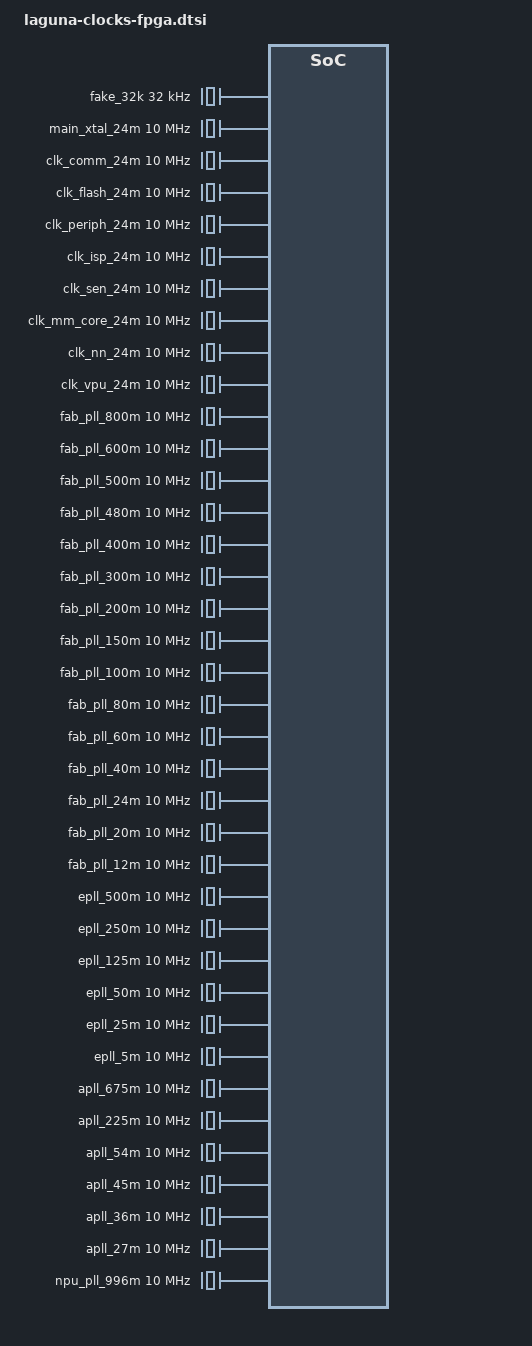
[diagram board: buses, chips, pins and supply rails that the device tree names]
/* SPDX-License-Identifier: GPL-2.0+
 *
 * Device Tree Source for Laguna Main Domain clock tree on HAPS FPGA
 *
 * Copyright (C) 2024 Charleye <wangkart@aliyun.com>
 */

/ {
	main_clocks {
		compatible = "simple-bus";
		#address-cells = <2>;
		#size-cells = <2>;

		fake_32k: fake_32k {
			compatible = "fixed-clock";
			#clock-cells = <0>;
			clock-frequency = <32000>;
			clock-output-names = "fake_32k";
		};

		main_xtal_24m: main_xtal_24m {
			compatible = "fixed-clock";
			#clock-cells = <0>;
			clock-frequency = <10000000>;
			clock-output-names = "main_xtal_24m";
		};

		clk_comm_24m: clk_comm_24m {
			compatible = "fixed-clock";
			#clock-cells = <0>;
			clock-frequency = <10000000>;
			clock-output-names = "clk_comm_24m";
		};

		clk_flash_24m: clk_flash_24m {
			compatible = "fixed-clock";
			#clock-cells = <0>;
			clock-frequency = <10000000>;
			clock-output-names = "clk_flash_24m";
		};

		clk_periph_24m: clk_periph_24m {
			compatible = "fixed-clock";
			#clock-cells = <0>;
			clock-frequency = <10000000>;
			clock-output-names = "clk_periph_24m";
		};

		clk_isp_24m: clk_isp_24m {
			compatible = "fixed-clock";
			#clock-cells = <0>;
			clock-frequency = <10000000>;
			clock-output-names = "clk_isp_24m";
		};

		clk_sen_24m: clk_sen_24m {
			compatible = "fixed-clock";
			#clock-cells = <0>;
			clock-frequency = <10000000>;
			clock-output-names = "clk_sen_24m";
		};

		clk_mm_core_24m: clk_mm_core_24m {
			compatible = "fixed-clock";
			#clock-cells = <0>;
			clock-frequency = <10000000>;
			clock-output-names = "clk_mm_core_24m";
		};

		clk_nn_24m: clk_nn_24m {
			compatible = "fixed-clock";
			#clock-cells = <0>;
			clock-frequency = <10000000>;
			clock-output-names = "clk_nn_24m";
		};

		clk_vpu_24m: clk_vpu_24m {
			compatible = "fixed-clock";
			#clock-cells = <0>;
			clock-frequency = <10000000>;
			clock-output-names = "clk_vpu_24m";
		};

		periph_clk_main_rgmii_tx_div2: periph_clk_main_rgmii_tx_div2 {
			compatible = "fixed-clock";
			#clock-cells = <0>;
			clock-frequency = <10000000>;
			clock-output-names = "periph_clk_main_rgmii_tx_div2";
		};

		clk_periph_emac_ptp_div2: clk_periph_emac_ptp_div2 {
			compatible = "fixed-clock";
			#clock-cells = <0>;
			clock-frequency = <10000000>;
			clock-output-names = "clk_periph_emac_ptp_div2";
		};

		tclk_sen_timestamp1: tclk_sen_timestamp1 {
			compatible = "fixed-clock";
			#clock-cells = <0>;
			clock-frequency = <10000000>;
			clock-output-names = "tclk_sen_timestamp1";
		};

		fab_pll_800m: fab_pll_800m {
			compatible = "fixed-clock";
			#clock-cells = <0>;
			clock-frequency = <10000000>;
			clock-output-names = "fab_pll_800m";
		};

		fab_pll_600m: fab_pll_600m {
			compatible = "fixed-clock";
			#clock-cells = <0>;
			clock-frequency = <10000000>;
			clock-output-names = "fab_pll_600m";
		};

		fab_pll_500m: fab_pll_500m {
			compatible = "fixed-clock";
			#clock-cells = <0>;
			clock-frequency = <10000000>;
			clock-output-names = "fab_pll_500m";
		};

		fab_pll_480m: fab_pll_480m {
			compatible = "fixed-clock";
			#clock-cells = <0>;
			clock-frequency = <10000000>;
			clock-output-names = "fab_pll_480m";
		};

		fab_pll_400m: fab_pll_400m {
			compatible = "fixed-clock";
			#clock-cells = <0>;
			clock-frequency = <10000000>;
			clock-output-names = "fab_pll_400m";
		};

		fab_pll_300m: fab_pll_300m {
			compatible = "fixed-clock";
			#clock-cells = <0>;
			clock-frequency = <10000000>;
			clock-output-names = "fab_pll_300m";
		};

		fab_pll_200m: fab_pll_200m {
			compatible = "fixed-clock";
			#clock-cells = <0>;
			clock-frequency = <10000000>;
			clock-output-names = "fab_pll_200m";
		};

		fab_pll_150m: fab_pll_150m {
			compatible = "fixed-clock";
			#clock-cells = <0>;
			clock-frequency = <10000000>;
			clock-output-names = "fab_pll_150m";
		};

		fab_pll_100m: fab_pll_100m {
			compatible = "fixed-clock";
			#clock-cells = <0>;
			clock-frequency = <10000000>;
			clock-output-names = "fab_pll_100m";
		};

		fab_pll_80m: fab_pll_80m {
			compatible = "fixed-clock";
			#clock-cells = <0>;
			clock-frequency = <10000000>;
			clock-output-names = "fab_pll_80m";
		};

		fab_pll_60m: fab_pll_60m {
			compatible = "fixed-clock";
			#clock-cells = <0>;
			clock-frequency = <10000000>;
			clock-output-names = "fab_pll_60m";
		};

		fab_pll_40m: fab_pll_40m {
			compatible = "fixed-clock";
			#clock-cells = <0>;
			clock-frequency = <10000000>;
			clock-output-names = "fab_pll_40m";
		};

		fab_pll_24m: fab_pll_24m {
			compatible = "fixed-clock";
			#clock-cells = <0>;
			clock-frequency = <10000000>;
			clock-output-names = "fab_pll_24m";
		};

		fab_pll_20m: fab_pll_20m {
			compatible = "fixed-clock";
			#clock-cells = <0>;
			clock-frequency = <10000000>;
			clock-output-names = "fab_pll_20m";
		};

		fab_pll_12m: fab_pll_12m {
			compatible = "fixed-clock";
			#clock-cells = <0>;
			clock-frequency = <10000000>;
			clock-output-names = "fab_pll_12m";
		};

		epll_500m: epll_500m {
			compatible = "fixed-clock";
			#clock-cells = <0>;
			clock-frequency = <10000000>;
			clock-output-names = "epll_500m";
		};

		epll_250m: epll_250m {
			compatible = "fixed-clock";
			#clock-cells = <0>;
			clock-frequency = <10000000>;
			clock-output-names = "epll_250m";
		};

		epll_125m: epll_125m {
			compatible = "fixed-clock";
			#clock-cells = <0>;
			clock-frequency = <10000000>;
			clock-output-names = "epll_125m";
		};

		epll_50m: epll_50m {
			compatible = "fixed-clock";
			#clock-cells = <0>;
			clock-frequency = <10000000>;
			clock-output-names = "epll_50m";
		};

		epll_25m: epll_25m {
			compatible = "fixed-clock";
			#clock-cells = <0>;
			clock-frequency = <10000000>;
			clock-output-names = "epll_25m";
		};

		epll_5m: epll_5m {
			compatible = "fixed-clock";
			#clock-cells = <0>;
			clock-frequency = <10000000>;
			clock-output-names = "epll_5m";
		};

		apll_675m: apll_675m {
			compatible = "fixed-clock";
			#clock-cells = <0>;
			clock-frequency = <10000000>;
			clock-output-names = "apll_675m";
		};

		apll_225m: apll_225m {
			compatible = "fixed-clock";
			#clock-cells = <0>;
			clock-frequency = <10000000>;
			clock-output-names = "apll_225m";
		};

		apll_54m: apll_54m {
			compatible = "fixed-clock";
			#clock-cells = <0>;
			clock-frequency = <10000000>;
			clock-output-names = "apll_54m";
		};

		apll_45m: apll_45m {
			compatible = "fixed-clock";
			#clock-cells = <0>;
			clock-frequency = <10000000>;
			clock-output-names = "apll_45m";
		};

		apll_36m: apll_36m {
			compatible = "fixed-clock";
			#clock-cells = <0>;
			clock-frequency = <10000000>;
			clock-output-names = "apll_36m";
		};

		apll_27m: apll_27m {
			compatible = "fixed-clock";
			#clock-cells = <0>;
			clock-frequency = <10000000>;
			clock-output-names = "apll_27m";
		};

		npu_pll_996m: npu_pll_996m {
			compatible = "fixed-clock";
			#clock-cells = <0>;
			clock-frequency = <10000000>;
			clock-output-names = "npu_pll_996m";
		};
	};
};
